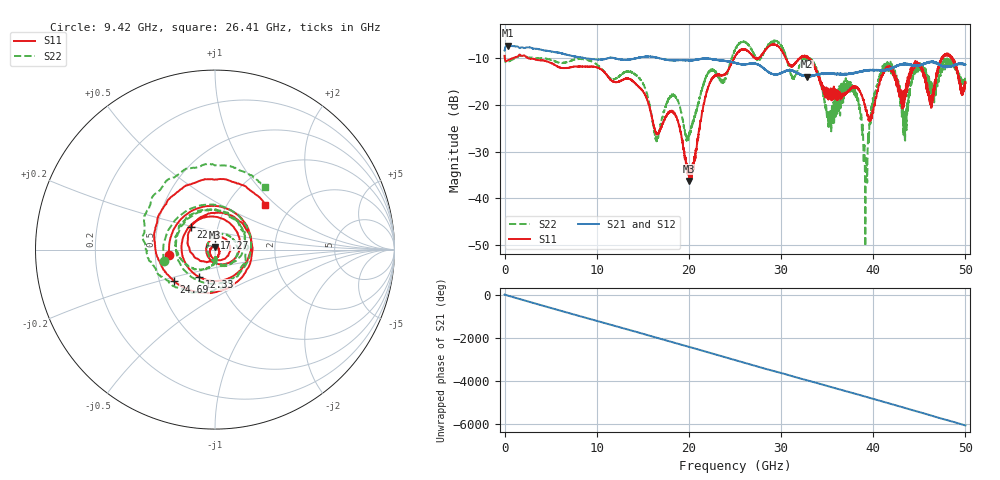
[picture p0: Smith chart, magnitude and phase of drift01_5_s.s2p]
!Created with skrf (http://scikit-rf.org).
# Hz S RI R 50.0
!freq ReS11 ImS11 ReS21 ImS21 ReS12 ImS12 ReS22 ImS22
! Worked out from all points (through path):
!   10001 points, 300 kHz to 50 GHz, reference 50 ohm
!   highest |S21| = -7.33 dB at 325.3 MHz (marker M1); lowest = -14.0 dB at 32.77 GHz (marker M2)
!   group delay of S21, straight-line fit = 335 ps
!   lowest |S11| = -36.3 dB at 20.02 GHz (marker M3), VSWR 1.03, Z = 49.9 + j1.53 ohm
!   |S11| at or under -10 dB: 2.566 GHz to 24.9 GHz (22.34 GHz wide, 163 % of centre); 30.5 GHz to 32.01 GHz (1.516 GHz wide, 4.85 % of centre); 33.07 GHz to 47.42 GHz (14.35 GHz wide, 35.7 % of centre) (the widest 3 of 26)
!   |S22| runs from -50.2 to -6.2 dB; largest |S21 - S12| = 0.0084
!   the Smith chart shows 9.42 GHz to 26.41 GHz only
!   S11 on the Smith chart (normalised r, x): 9.42 GHz: 0.59, -0.04; 12.33 GHz: 0.80, -0.25; 17.27 GHz: 0.99, +0.13; 22.4 GHz: 0.74, +0.19; 24.69 GHz: 0.60, -0.23; 26.41 GHz: 1.50, +0.85
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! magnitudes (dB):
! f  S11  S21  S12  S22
! 300 kHz  -9.5  -8.4  -8.5  -9.5
! 325.3 MHz  -10.5  -7.3  -7.3  -10.9
! 8.335 GHz  -11.8  -9.9  -9.9  -10.2
! 9.42 GHz  -11.8  -10.2  -10.2  -10.7
! 12.33 GHz  -15.1  -10.2  -10.2  -14.0
! 16.67 GHz  -26.2  -10.0  -10.0  -26.9
! 17.27 GHz  -23.4  -10.2  -10.2  -21.4
! 20.02 GHz  -36.3  -10.5  -10.5  -26.4
! 22.4 GHz  -14.7  -10.2  -10.2  -12.5
! 24.69 GHz  -10.8  -10.8  -10.9  -9.8
! 25 GHz  -9.7  -11.0  -11.0  -8.3
! 26.41 GHz  -8.5  -11.3  -11.3  -7.0
! 32.77 GHz  -9.8  -14.0  -13.9  -10.1
! 33.34 GHz  -10.8  -13.8  -13.8  -10.6
! 35.23 GHz  -17.1  -13.3  -13.3  -22.5
! 38.02 GHz  -16.1  -13.2  -13.2  -17.0
! 39.17 GHz  -21.0  -12.7  -12.7  -41.9
! 40.14 GHz  -20.0  -12.5  -12.6  -17.6
! 41.67 GHz  -12.3  -12.3  -12.4  -12.1
! 43.37 GHz  -18.6  -11.3  -11.3  -22.8
! 44.86 GHz  -11.4  -11.7  -11.6  -11.5
! 50 GHz  -15.3  -11.4  -11.4  -15.0
